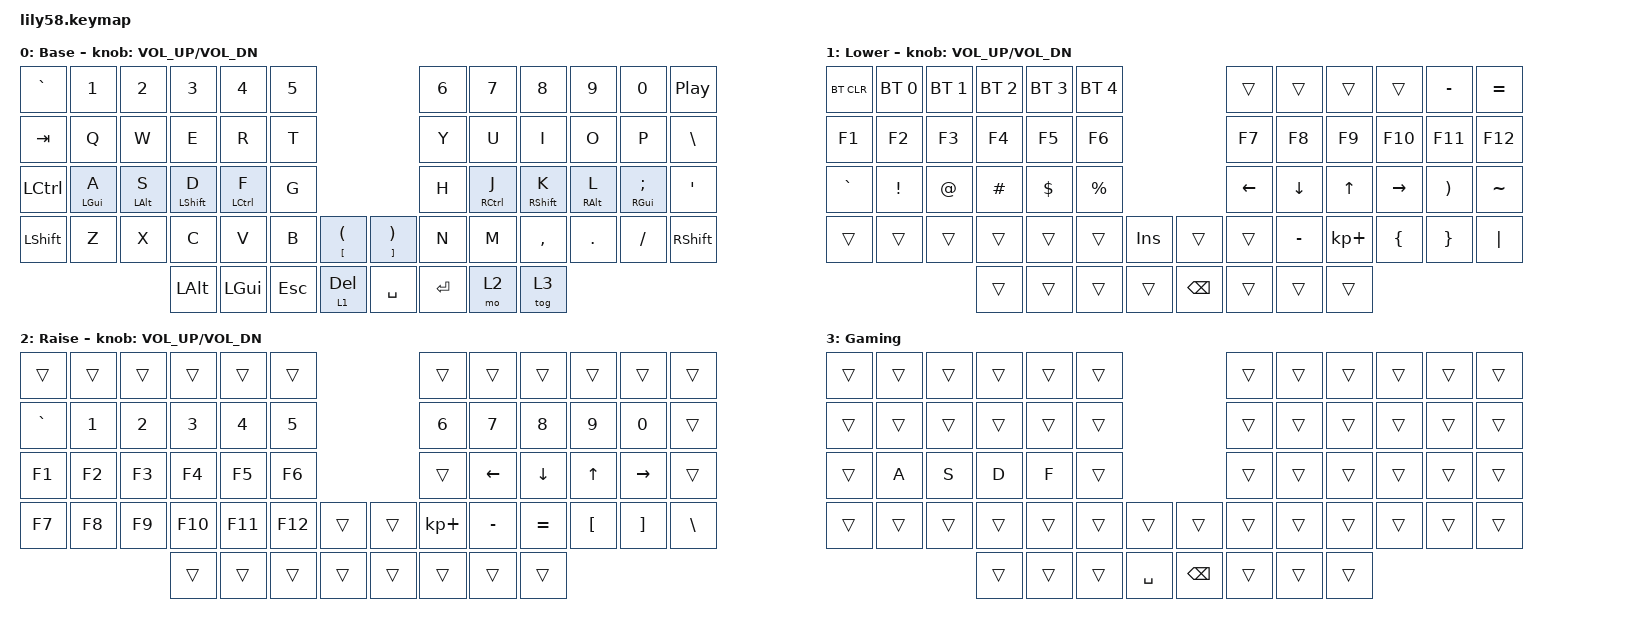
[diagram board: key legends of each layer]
/*
 * Copyright (c) 2020 The ZMK Contributors
 *
 * SPDX-License-Identifier: MIT
 */

#include <behaviors.dtsi>
#include <dt-bindings/zmk/keys.h>
#include <dt-bindings/zmk/bt.h>
#include <dt-bindings/zmk/ext_power.h>

/ {
    behaviors {
        bhm: balanced_homerow_mods {
            compatible = "zmk,behavior-hold-tap";
            #binding-cells = <2>;
            tapping-term-ms = <300>;   
            quick-tap-ms = <200>;
            flavor = "balanced";
            bindings = <&kp>, <&kp>;
        };
    };

    keymap {
        compatible = "zmk,keymap";

        default_layer {
// ------------------------------------------------------------------------------------------------------------
// |  ESC   |  1  |  2  |  3   |  4   |  5   |                   |  6   |  7    |  8    |  9   |   0   |   `   |
// |  TAB   |  Q  |  W  |  E   |  R   |  T   |                   |  Y   |  U    |  I    |  O   |   P   |   -   |
// |  SHIFT |  A  |  S  |  D   |  F   |  G   |                   |  H   |  J    |  K    |  L   |   ;   |   '   |
// |  CTL   |  Z  |  X  |  C   |  V   |  B   |   "["  |  |  "]"  |  N   |  M    |  ,    |  .   |   /   | SHIFT |
//                     | ALT  | GUI  | LOWER|  SPACE |  | ENTER | RAISE| BSPC  | GUI   |
            display-name = "Base";
            bindings = <
&kp GRAVE  &kp N1       &kp N2       &kp N3           &kp N4         &kp N5                                    &kp N6   &kp N7         &kp N8           &kp N9       &kp N0         &kp C_PP
&kp TAB    &kp Q        &kp W        &kp E            &kp R          &kp T                                     &kp Y    &kp U          &kp I            &kp O        &kp P          &kp BSLH  
&kp LCTRL  &bhm LGUI A  &bhm LALT S  &bhm LSHIFT D    &bhm LCTL F    &kp G                                     &kp H    &bhm RCTL J    &bhm RSHIFT K    &bhm RALT L  &bhm RGUI SEMI &kp SQT
&kp LSHFT  &kp Z        &kp X        &kp C            &kp V          &kp B    &mt LBKT LPAR     &mt RBKT RPAR  &kp N    &kp M          &kp COMMA        &kp DOT      &kp FSLH       &kp RSHFT
                                     &kp LALT         &kp LGUI       &kp ESC  &lt 1 DEL         &kp SPACE      &kp RET  &mo 2          &tog 3
            >;

            sensor-bindings = <&inc_dec_kp C_VOL_UP C_VOL_DN>;
        };

        lower_layer {
// ------------------------------------------------------------------------------------------------------------
// | BTCLR | BT1 | BT2 |  BT3 |  BT4 |  BT5 |                   |      |       |       |      |       |       |
// |  F1   |  F2 |  F3 |  F4  |  F5  |  F6  |                   |  F7  |  F8   |  F9   |  F10 |  F11  |  F12  |
// |   `   |  !  |  @  |  #   |  $   |  %   |                   |  ^   |  &    |  *    |  (   |   )   |   ~   |
// |       |     |     |      |      |      |        |  |       |      |  _    |  +    |  {   |   }   |  "|"  |
//                     |      |      |      |        |  |       |      |       |       |
            display-name = "Lower";
            bindings = <  
&bt BT_CLR &bt BT_SEL 0     &bt BT_SEL 1      &bt BT_SEL 2      &bt BT_SEL 3 &bt BT_SEL 4                       &trans      &trans    &trans          &trans     &kp MINUS    &kp EQUAL
&kp F1     &kp F2           &kp F3            &kp F4            &kp F5       &kp F6                             &kp F7      &kp F8    &kp F9          &kp F10    &kp F11   &kp F12
&kp GRAVE  &kp EXCL         &kp AT            &kp HASH          &kp DOLLAR   &kp PRCNT                          &kp LEFT    &kp DOWN  &kp UP          &kp RIGHT  &kp RPAR  &kp TILDE
&trans     &trans           &trans            &trans            &trans       &trans        &kp INS   &trans      &trans      &kp MINUS &kp KP_PLUS     &kp LBRC   &kp RBRC  &kp PIPE
                                              &trans            &trans       &trans        &trans    &kp BSPC    &trans      &trans    &trans
            >;

            sensor-bindings = <&inc_dec_kp C_VOL_UP C_VOL_DN>;
        };

        raise_layer {
// ------------------------------------------------------------------------------------------------------------
// |       |     |     |      |      |      |                   |      |       |       |      |       |       |
// |   `   |  1  |  2  |  3   |  4   |  5   |                   |  6   |   7   |   8   |  9   |   0   |       |
// |   F1  |  F2 |  F3 |  F4  |  F5  |  F6  |                   |      |   <-  |   v   |  ^   |  ->   |       |
// |   F7  |  F8 |  F9 |  F10 |  F11 |  F12 |        |  |       |  +   |   -   |   =   |  [   |   ]   |   \   |
//                     |      |      |      |        |  |       |      |       |       |
            display-name = "Raise";
            bindings = <
&trans    &trans &trans &trans  &trans  &trans                       &trans      &trans    &trans    &trans   &trans    &trans
&kp GRAVE &kp N1 &kp N2 &kp N3  &kp N4  &kp N5                       &kp N6      &kp N7    &kp N8    &kp N9   &kp N0    &trans
&kp F1    &kp F2 &kp F3 &kp F4  &kp F5  &kp F6                       &trans      &kp LEFT  &kp DOWN  &kp UP   &kp RIGHT &trans
&kp F7    &kp F8 &kp F9 &kp F10 &kp F11 &kp F12   &trans   &trans    &kp KP_PLUS &kp MINUS &kp EQUAL &kp LBKT &kp RBKT  &kp BSLH
                        &trans  &trans  &trans    &trans   &trans    &trans      &trans    &trans
            >;

            sensor-bindings = <&inc_dec_kp C_VOL_UP C_VOL_DN>;
        };

        gaming {
            display-name = "Gaming";
            bindings = <
&trans    &trans &trans &trans  &trans  &trans                             &trans      &trans    &trans    &trans   &trans    &trans
&trans    &trans &trans &trans  &trans  &trans                             &trans      &trans    &trans    &trans   &trans    &trans
&trans    &kp A  &kp S  &kp D   &kp  F  &trans                             &trans      &trans    &trans    &trans   &trans    &trans
&trans    &trans &trans &trans  &trans  &trans    &trans       &trans      &trans      &trans    &trans    &trans   &trans    &trans
                        &trans  &trans  &trans    &kp SPACE    &kp BSPC    &trans      &trans    &trans

            >;
         };

        extra_2 {
            status = "reserved";
        };

        extra_3 {
            status = "reserved";
        };
    };
};
